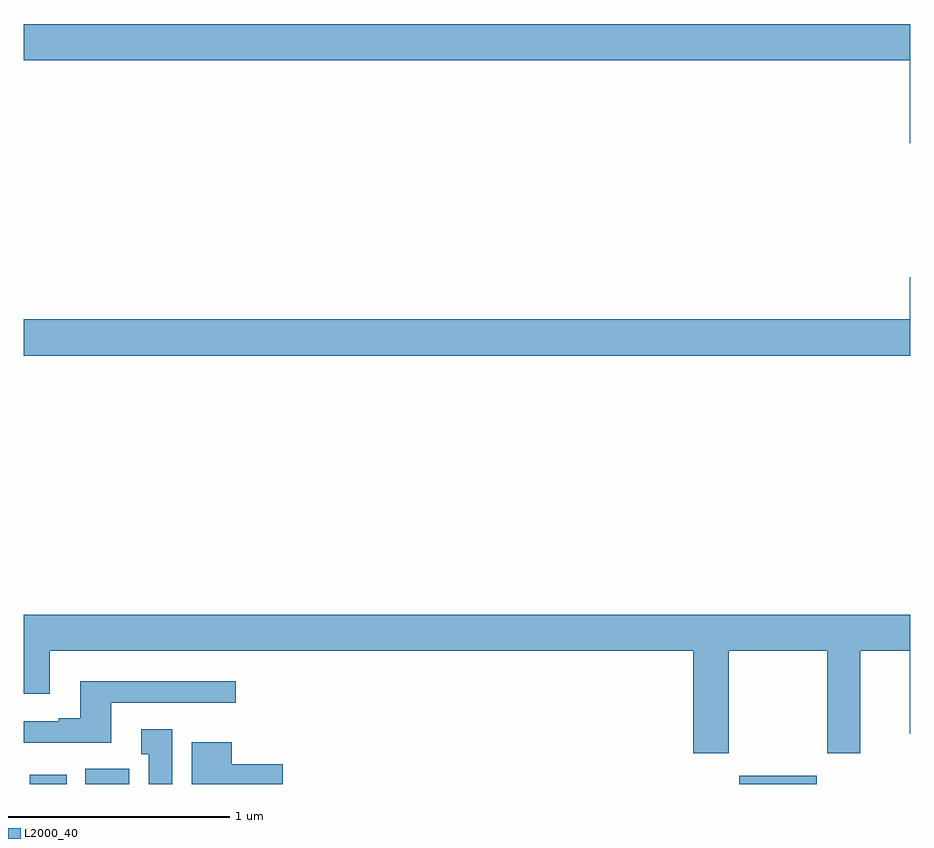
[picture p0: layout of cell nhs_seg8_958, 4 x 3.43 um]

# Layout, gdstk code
import gdstk
lib = gdstk.Library(unit=1e-6, precision=1e-09)
def R(c, l, rs):  # rectangles x0, y0, x1, y1
    for r in rs: c.add(gdstk.rectangle(r[:2], r[2:], *l))
def P(c, l, *ps):  # polygons
    for p in ps: c.add(gdstk.Polygon(p, *l))
L2000_40 = (2000, 40)

nhs_seg8_958 = lib.new_cell('nhs_seg8_958')
R(nhs_seg8_958, L2000_40, [(173.027,1115.9,173.194,1115.941), (173.279,1115.9,173.476,1115.968), (176.228,1115.9,176.578,1115.938)])
P(nhs_seg8_958, L2000_40, [(177,1119.328),(173,1119.328),(173,1119.164),(176.996,1119.164),(176.996,1118.79),(177,1118.79)],
  [(177,1118.185),(176.996,1118.185),(176.996,1117.996),(173,1117.996),(173,1117.832),(177,1117.832)],
  [(176.181,1116.5),(176.626,1116.5),(176.626,1116.039),(176.773,1116.039),(176.773,1116.5),(176.996,1116.5),(176.996,1116.126),(177,1116.126),(177,1116.664),(173,1116.664),(173,1116.306),(173.119,1116.306),(173.119,1116.5),(176.021,1116.5),(176.021,1116.039),(176.181,1116.039)],
  [(173.395,1116.267),(173.956,1116.267),(173.956,1116.364),(173.255,1116.364),(173.255,1116.196),(173.159,1116.196),(173.159,1116.183),(173,1116.183),(173,1116.086),(173.395,1116.086)],
  [(173.671,1116.148),(173.531,1116.148),(173.531,1116.035),(173.564,1116.035),(173.564,1115.9),(173.671,1115.9)],
  [(174.169,1115.99),(173.938,1115.99),(173.938,1116.088),(173.759,1116.088),(173.759,1115.9),(174.169,1115.9)])

lib.write_gds('nhs_seg8_958.gds')
